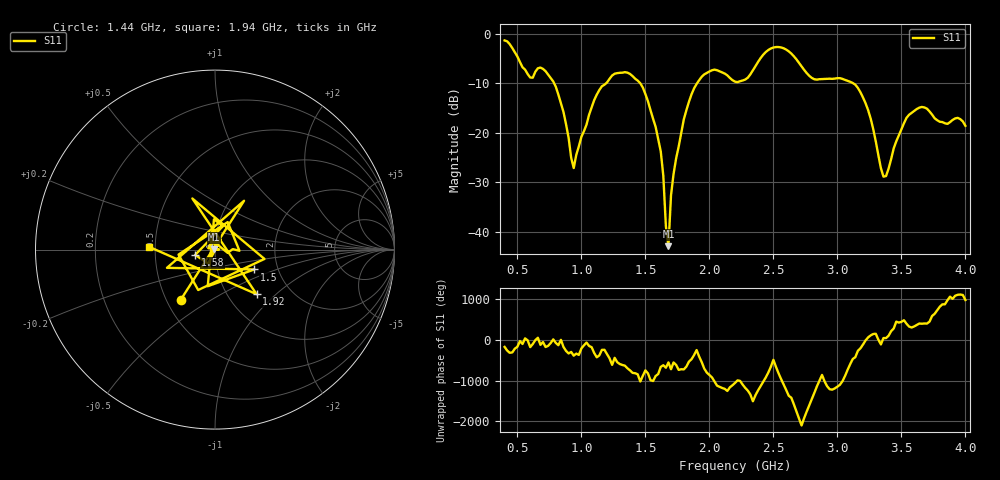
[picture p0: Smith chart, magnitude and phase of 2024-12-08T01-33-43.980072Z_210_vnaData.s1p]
!Created with skrf (http://scikit-rf.org).
# Hz S RI R 50.0
!freq ReS11 ImS11
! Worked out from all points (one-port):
!   181 points, 400 MHz to 4 GHz, reference 50 ohm
!   lowest |S11| = -43.0 dB at 1.68 GHz (marker M1), VSWR 1.01, Z = 49.3 + j0.132 ohm
!   |S11| at or under -10 dB: 787 MHz to 1.192 GHz (405.5 MHz wide, 41 % of centre); 1.46 GHz to 1.903 GHz (443.2 MHz wide, 26.4 % of centre); 3.123 GHz to end of sweep
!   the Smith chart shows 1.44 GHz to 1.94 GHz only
!   S11 on the Smith chart (normalised r, x): 1.44 GHz: 0.59, -0.37; 1.5 GHz: 1.51, -0.36; 1.58 GHz: 0.80, -0.05; 1.92 GHz: 1.36, -0.76; 1.94 GHz: 0.46, +0.02
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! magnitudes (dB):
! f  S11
! 400 MHz  -1.3
! 600 MHz  -8.8
! 720 MHz  -7.5
! 860 MHz  -15.8
! 940 MHz  -27.1
! 1.12 GHz  -12.3
! 1.3 GHz  -7.9
! 1.44 GHz  -9.5
! 1.5 GHz  -12.2
! 1.58 GHz  -18.8
! 1.62 GHz  -23.8
! 1.64 GHz  -28.7
! 1.66 GHz  -38.9
! 1.68 GHz  -43.0
! 1.7 GHz  -32.7
! 1.76 GHz  -22.8
! 1.84 GHz  -13.8
! 1.92 GHz  -9.4
! 1.94 GHz  -8.7
! 2.2 GHz  -9.7
! 2.48 GHz  -3.0
! 2.66 GHz  -4.5
! 2.82 GHz  -9.2
! 3.1 GHz  -9.7
! 3.24 GHz  -15.4
! 3.36 GHz  -28.9
! 3.56 GHz  -16.4
! 4 GHz  -18.6
